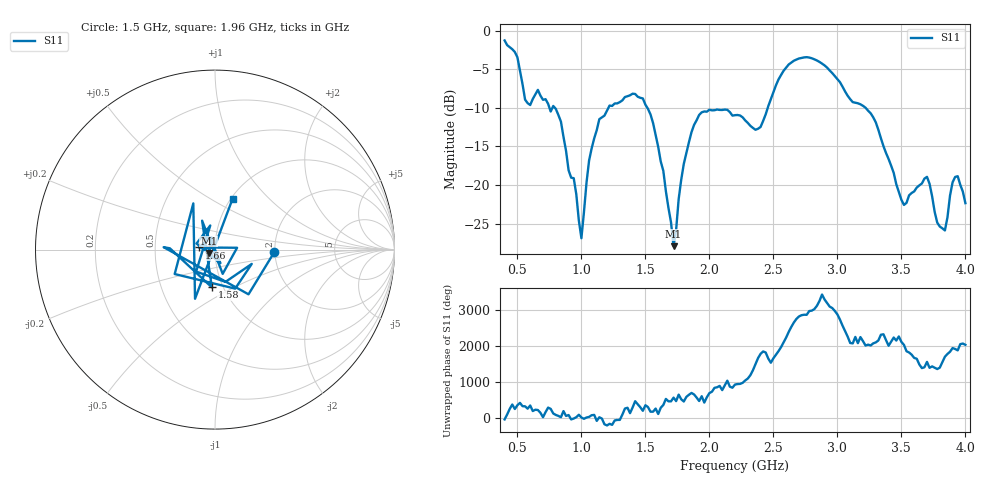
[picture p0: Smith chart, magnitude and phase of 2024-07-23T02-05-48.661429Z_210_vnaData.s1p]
!Created with skrf (http://scikit-rf.org).
# Hz S RI R 50.0
!freq ReS11 ImS11
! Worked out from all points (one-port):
!   181 points, 400 MHz to 4 GHz, reference 50 ohm
!   lowest |S11| = -27.9 dB at 1.72 GHz (marker M1), VSWR 1.08, Z = 46.6 - j1.78 ohm
!   |S11| at or under -10 dB: 792.8 MHz to 1.211 GHz (418.1 MHz wide, 41.7 % of centre); 1.515 GHz to 2.456 GHz (940.7 MHz wide, 47.4 % of centre); 3.221 GHz to end of sweep (the widest 3 of 4)
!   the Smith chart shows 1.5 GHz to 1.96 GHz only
!   S11 on the Smith chart (normalised r, x): 1.5 GHz: 1.99, -0.06; 1.58 GHz: 0.89, -0.39; 1.66 GHz: 0.83, +0.02; 1.96 GHz: 1.02, +0.63
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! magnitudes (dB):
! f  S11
! 400 MHz  -1.3
! 500 MHz  -3.4
! 560 MHz  -8.9
! 660 MHz  -7.7
! 860 MHz  -13.8
! 940 MHz  -19.1
! 1 GHz  -26.9
! 1.06 GHz  -16.8
! 1.14 GHz  -11.5
! 1.3 GHz  -9.3
! 1.5 GHz  -9.6
! 1.58 GHz  -13.5
! 1.66 GHz  -20.8
! 1.72 GHz  -27.9
! 1.76 GHz  -21.8
! 1.86 GHz  -13.2
! 1.96 GHz  -10.5
! 2.2 GHz  -11.0
! 2.4 GHz  -12.5
! 2.66 GHz  -3.9
! 3.1 GHz  -8.9
! 3.28 GHz  -11.2
! 3.5 GHz  -21.9
! 3.56 GHz  -21.4
! 3.7 GHz  -19.0
! 3.84 GHz  -25.9
! 3.92 GHz  -19.0
! 4 GHz  -22.4
